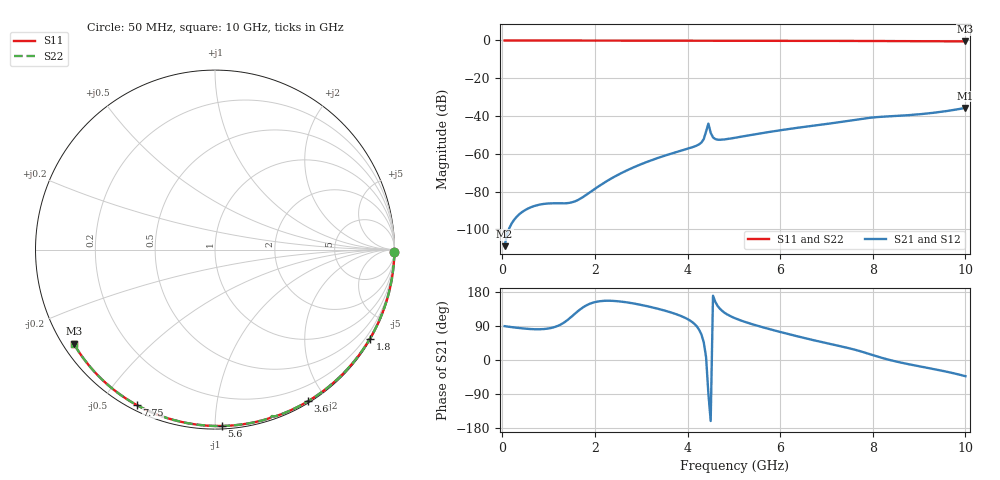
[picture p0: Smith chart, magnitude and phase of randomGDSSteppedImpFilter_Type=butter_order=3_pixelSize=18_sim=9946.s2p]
! freq	dB(S11)	phase(S11)	dB(S12)	phase(S12)
!  dB(S21)	phase(S21)	dB(S22)	phase(S22)
!S-par simulation data
#  GHz  S  DB  R 50
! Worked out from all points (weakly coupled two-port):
!   200 points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, 50 MHz to 10 GHz, reference 50 ohm
!   highest |S21| = -35.70 dB at 10 GHz (marker M1); lowest = -108.9 dB at 50 MHz (marker M2)
!   lowest |S11| = -0.5 dB at 10 GHz (marker M3), VSWR 35.79, Z = 1.52 - j15.1 ohm
!   |S11| at or under -10 dB: nowhere
!   |S22| runs from -0.5 to 0.0 dB; largest |S21 - S12| = 0
!   S11 on the Smith chart (normalised r, x): 50 MHz: open; 1.8 GHz: 0.03, -3.74; 3.6 GHz: 0.02, -1.79; 5.6 GHz: 0.02, -1.04; 7.75 GHz: 0.02, -0.62; 10 GHz: 0.03, -0.30
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0.05  -0.00 -0.9  -108.87 89.2  -108.87 89.2  -0.00 -0.9
1.75  -0.04 -29.1  -82.76 139.5  -82.76 139.5  -0.04 -29.1
1.8  -0.04 -29.9  -81.94 143.1  -81.94 143.1  -0.04 -29.9
1.95  -0.04 -32.4  -79.38 151.0  -79.38 151.0  -0.04 -32.4
2.7  -0.06 -44.4  -68.65 151.9  -68.65 151.9  -0.06 -44.4
3.4  -0.07 -55.3  -61.85 134.0  -61.85 134.0  -0.07 -55.3
3.6  -0.08 -58.4  -60.26 127.1  -60.26 127.1  -0.08 -58.4
4.15  -0.09 -66.8  -56.11 95.1  -56.11 95.1  -0.09 -66.7
4.3  -0.10 -69.0  -54.01 67.4  -54.01 67.4  -0.10 -69.0
4.35  -0.10 -69.8  -52.21 46.9  -52.21 46.9  -0.10 -69.8
4.45  -0.17 -71.1  -43.99 -88.2  -43.99 -88.2  -0.17 -71.0
4.5  -0.12 -71.7  -48.86 -161.0  -48.86 -161.0  -0.12 -71.7
4.55  -0.11 -72.5  -51.31 169.5  -51.31 169.5  -0.11 -72.5
4.6  -0.11 -73.3  -52.18 153.5  -52.18 153.5  -0.11 -73.3
4.75  -0.11 -75.5  -52.49 129.5  -52.49 129.5  -0.11 -75.5
5.05  -0.12 -79.9  -51.40 109.0  -51.40 109.0  -0.12 -79.8
5.6  -0.14 -87.7  -49.08 87.2  -49.08 87.2  -0.14 -87.7
6.7  -0.20 -102.8  -45.16 52.9  -45.16 52.9  -0.20 -102.8
7.75  -0.27 -116.8  -41.50 22.4  -41.50 22.4  -0.27 -116.7
8.35  -0.32 -124.6  -40.16 0.6  -40.16 0.6  -0.32 -124.5
9.2  -0.40 -135.7  -38.59 -21.2  -38.59 -21.2  -0.40 -135.6
10  -0.49 -146.3  -35.70 -42.8  -35.70 -42.8  -0.49 -146.3
